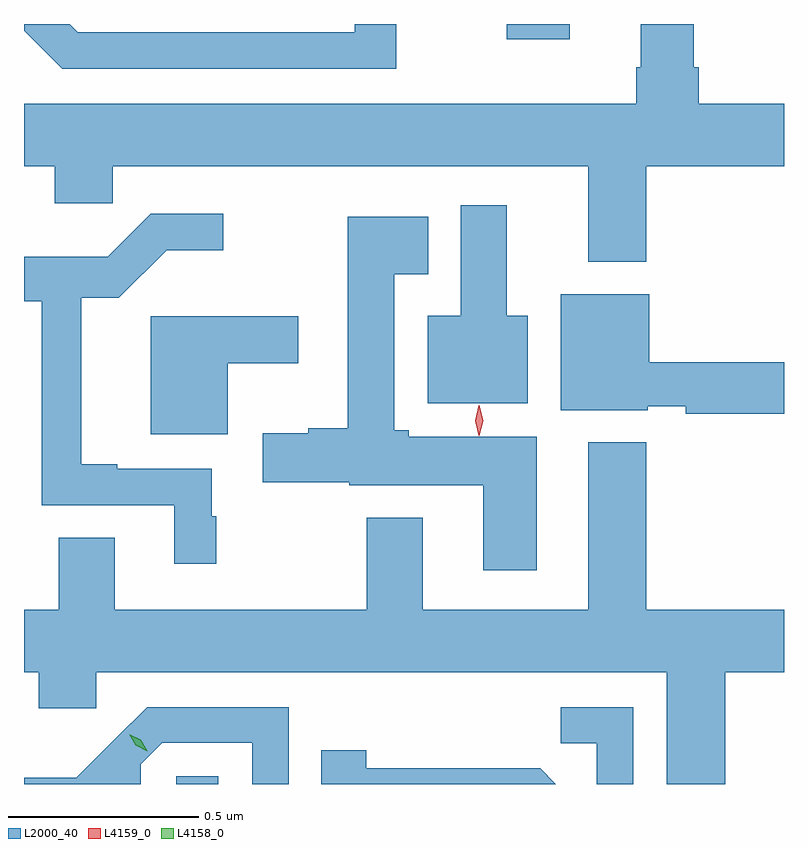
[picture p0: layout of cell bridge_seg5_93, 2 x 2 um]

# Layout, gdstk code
import gdstk
lib = gdstk.Library(unit=1e-6, precision=1e-09)
def R(c, l, rs):  # rectangles x0, y0, x1, y1
    for r in rs: c.add(gdstk.rectangle(r[:2], r[2:], *l))
def P(c, l, *ps):  # polygons
    for p in ps: c.add(gdstk.Polygon(p, *l))
L2000_40 = (2000, 40)
L4158_0 = (4158, 0)
L4159_0 = (4159, 0)

bridge_seg5_93 = lib.new_cell('bridge_seg5_93')
R(bridge_seg5_93, L2000_40, [(115.182,892.43,115.293,892.451), (116.053,894.39,116.218,894.43)])
P(bridge_seg5_93, L2000_40, [(115.762,894.43),(115.653,894.43),(115.653,894.408),(114.924,894.408),(114.902,894.43),(114.782,894.43),(114.782,894.412),(114.882,894.312),(115.762,894.312)],
  [(116.42,894.056),(116.782,894.056),(116.782,894.22),(116.558,894.22),(116.558,894.316),(116.545,894.316),(116.545,894.43),(116.405,894.43),(116.405,894.316),(116.393,894.316),(116.393,894.22),(114.782,894.22),(114.782,894.056),(114.863,894.056),(114.863,893.958),(115.015,893.958),(115.015,894.056),(116.267,894.056),(116.267,893.804),(116.42,893.804)],
  [(116.107,893.662),(116.053,893.662),(116.053,893.953),(115.931,893.953),(115.931,893.662),(115.844,893.662),(115.844,893.432),(116.107,893.432)],
  [(115.288,893.135),(115.276,893.135),(115.276,893.259),(115.027,893.259),(115.027,893.272),(114.932,893.272),(114.932,893.709),(115.031,893.709),(115.157,893.834),(115.306,893.834),(115.306,893.931),(115.116,893.931),(115.003,893.818),(114.782,893.818),(114.782,893.701),(114.829,893.701),(114.829,893.163),(115.178,893.163),(115.178,893.01),(115.288,893.01)],
  [(116.131,893.344),(115.794,893.344),(115.794,893.361),(115.756,893.361),(115.756,893.771),(115.846,893.771),(115.846,893.923),(115.634,893.923),(115.634,893.366),(115.53,893.366),(115.53,893.353),(115.41,893.353),(115.41,893.224),(115.638,893.224),(115.638,893.216),(115.991,893.216),(115.991,892.992),(116.131,892.992)],
  [(116.782,893.54),(116.428,893.54),(116.428,893.719),(116.195,893.719),(116.195,893.414),(116.424,893.414),(116.424,893.424),(116.524,893.424),(116.524,893.404),(116.782,893.404)],
  [(115.318,893.537),(115.504,893.537),(115.504,893.661),(115.115,893.661),(115.115,893.351),(115.318,893.351)],
  [(116.627,892.724),(116.782,892.724),(116.782,892.888),(116.42,892.888),(116.42,893.329),(116.267,893.329),(116.267,892.888),(115.831,892.888),(115.831,893.131),(115.684,893.131),(115.684,892.888),(115.021,892.888),(115.021,893.078),(114.874,893.078),(114.874,892.888),(114.782,892.888),(114.782,892.724),(114.821,892.724),(114.821,892.629),(114.972,892.629),(114.972,892.724),(116.474,892.724),(116.474,892.43),(116.627,892.43)],
  [(116.385,892.632),(116.194,892.632),(116.194,892.537),(116.289,892.537),(116.289,892.43),(116.385,892.43)],
  [(115.089,892.482),(115.146,892.539),(115.383,892.539),(115.383,892.43),(115.479,892.43),(115.479,892.632),(115.106,892.632),(115.022,892.549),(114.919,892.447),(114.782,892.447),(114.782,892.43),(115.089,892.43)],
  [(116.14,892.471),(116.039,892.471),(116.039,892.472),(115.683,892.472),(115.683,892.519),(115.564,892.519),(115.564,892.43),(116.181,892.43)])
P(bridge_seg5_93, L4158_0, [(115.106,892.516),(115.076,892.532),(115.059,892.561),(115.059,892.561),(115.059,892.561),(115.089,892.546),(115.106,892.517),(115.106,892.516)])
P(bridge_seg5_93, L4159_0, [(115.979,893.346),(115.979,893.346),(115.97,893.386),(115.979,893.427),(115.979,893.427),(115.98,893.427),(115.99,893.386),(115.98,893.346)])

lib.write_gds('bridge_seg5_93.gds')
